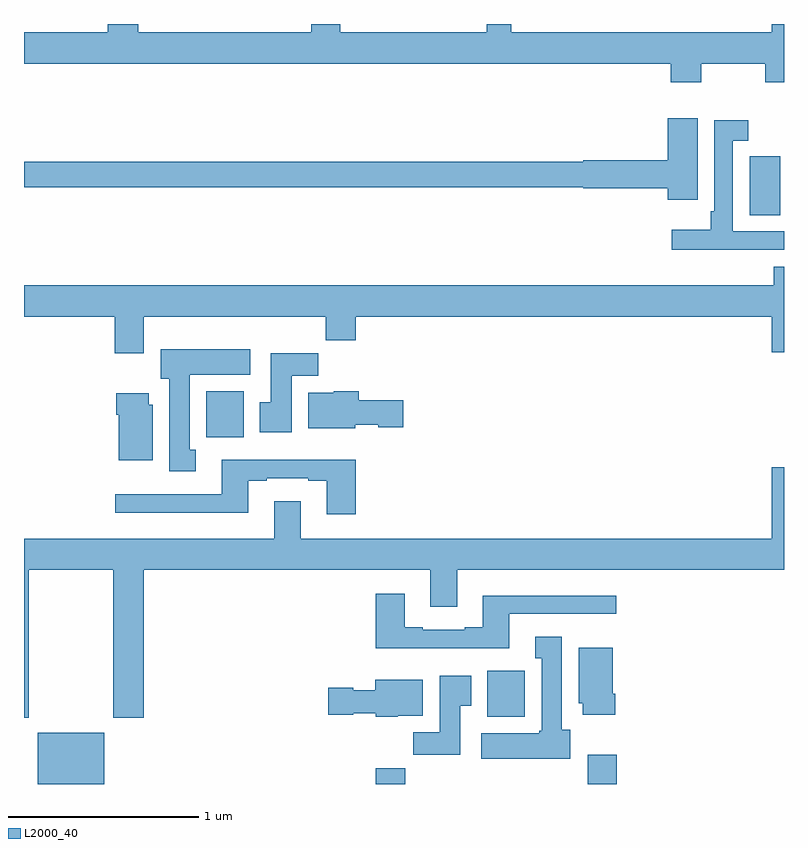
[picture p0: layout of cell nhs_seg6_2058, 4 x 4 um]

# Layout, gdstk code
import gdstk
lib = gdstk.Library(unit=1e-6, precision=1e-09)
def R(c, l, rs):  # rectangles x0, y0, x1, y1
    for r in rs: c.add(gdstk.rectangle(r[:2], r[2:], *l))
def P(c, l, *ps):  # polygons
    for p in ps: c.add(gdstk.Polygon(p, *l))
L2000_40 = (2000, 40)

nhs_seg6_2058 = lib.new_cell('nhs_seg6_2058')
R(nhs_seg6_2058, L2000_40, [(233.072,987.5,233.422,987.769), (234.851,987.5,235.007,987.584), (235.967,987.5,236.12,987.655), (235.439,987.854,235.636,988.096), (233.96,989.324,234.157,989.566), (236.819,990.493,236.98,990.804)])
P(nhs_seg6_2058, L2000_40, [(236.565,991.292),(236.902,991.292),(236.902,991.193),(237,991.193),(237,991.5),(236.936,991.5),(236.936,991.456),(235.565,991.456),(235.565,991.5),(235.436,991.5),(235.436,991.456),(234.664,991.456),(234.664,991.5),(234.512,991.5),(234.512,991.456),(233.6,991.456),(233.6,991.5),(233.44,991.5),(233.44,991.456),(233,991.456),(233,991.292),(236.405,991.292),(236.405,991.193),(236.565,991.193)],
  [(236.545,991.003),(236.387,991.003),(236.387,990.782),(235.944,990.782),(235.944,990.776),(233,990.776),(233,990.64),(235.944,990.64),(235.944,990.635),(236.387,990.635),(236.387,990.576),(236.545,990.576)],
  [(236.827,990.312),(237,990.312),(237,990.408),(236.73,990.408),(236.73,990.885),(236.812,990.885),(236.812,990.994),(236.634,990.994),(236.634,990.514),(236.614,990.514),(236.614,990.418),(236.409,990.418),(236.409,990.311),(236.827,990.311)],
  [(233.629,989.96),(234.589,989.96),(234.589,989.836),(234.746,989.836),(234.746,989.96),(236.936,989.96),(236.936,989.772),(237,989.772),(237,990.223),(236.945,990.223),(236.945,990.124),(233,990.124),(233,989.96),(233.477,989.96),(233.477,989.766),(233.629,989.766)],
  [(233.905,989.258),(233.872,989.258),(233.872,989.654),(234.19,989.654),(234.19,989.788),(233.72,989.788),(233.72,989.634),(233.765,989.634),(233.765,989.145),(233.905,989.145)],
  [(234.409,989.648),(234.548,989.648),(234.548,989.767),(234.299,989.767),(234.299,989.508),(234.242,989.508),(234.242,989.352),(234.409,989.352)],
  [(234.744,989.39),(234.864,989.39),(234.864,989.378),(234.997,989.378),(234.997,989.52),(234.761,989.52),(234.761,989.566),(234.63,989.566),(234.63,989.56),(234.497,989.56),(234.497,989.372),(234.744,989.372)],
  [(233.677,989.496),(233.656,989.496),(233.656,989.557),(233.486,989.557),(233.486,989.444),(233.498,989.444),(233.498,989.204),(233.677,989.204)],
  [(234.746,989.206),(234.041,989.206),(234.041,989.025),(233.481,989.025),(233.481,988.928),(234.181,988.928),(234.181,989.097),(234.277,989.097),(234.277,989.109),(234.497,989.109),(234.497,989.097),(234.593,989.097),(234.593,988.92),(234.746,988.92)],
  [(233.025,988.628),(233.47,988.628),(233.47,987.849),(233.63,987.849),(233.63,988.628),(235.139,988.628),(235.139,988.434),(235.279,988.434),(235.279,988.628),(237,988.628),(237,989.167),(236.936,989.167),(236.936,988.792),(234.457,988.792),(234.457,988.987),(234.317,988.987),(234.317,988.792),(233,988.792),(233,987.849),(233.025,987.849)],
  [(235.555,988.395),(236.116,988.395),(236.116,988.492),(235.415,988.492),(235.415,988.324),(235.319,988.324),(235.319,988.311),(235.099,988.311),(235.099,988.324),(235.003,988.324),(235.003,988.501),(234.851,988.501),(234.851,988.214),(235.555,988.214)],
  [(235.876,987.786),(235.831,987.786),(235.831,988.276),(235.691,988.276),(235.691,988.163),(235.724,988.163),(235.724,987.78),(235.711,987.78),(235.711,987.766),(235.407,987.766),(235.407,987.632),(235.876,987.632)],
  [(236.111,987.976),(236.098,987.976),(236.098,988.216),(235.919,988.216),(235.919,987.924),(235.94,987.924),(235.94,987.864),(236.111,987.864)],
  [(235.297,987.913),(235.354,987.913),(235.354,988.069),(235.187,988.069),(235.187,987.772),(235.048,987.772),(235.048,987.654),(235.297,987.654)],
  [(234.966,987.86),(235.099,987.86),(235.099,988.048),(234.848,988.048),(234.848,987.994),(234.732,987.994),(234.732,988.007),(234.6,988.007),(234.6,987.865),(234.732,987.865),(234.732,987.872),(234.852,987.872),(234.852,987.854),(234.966,987.854)])

lib.write_gds('nhs_seg6_2058.gds')
